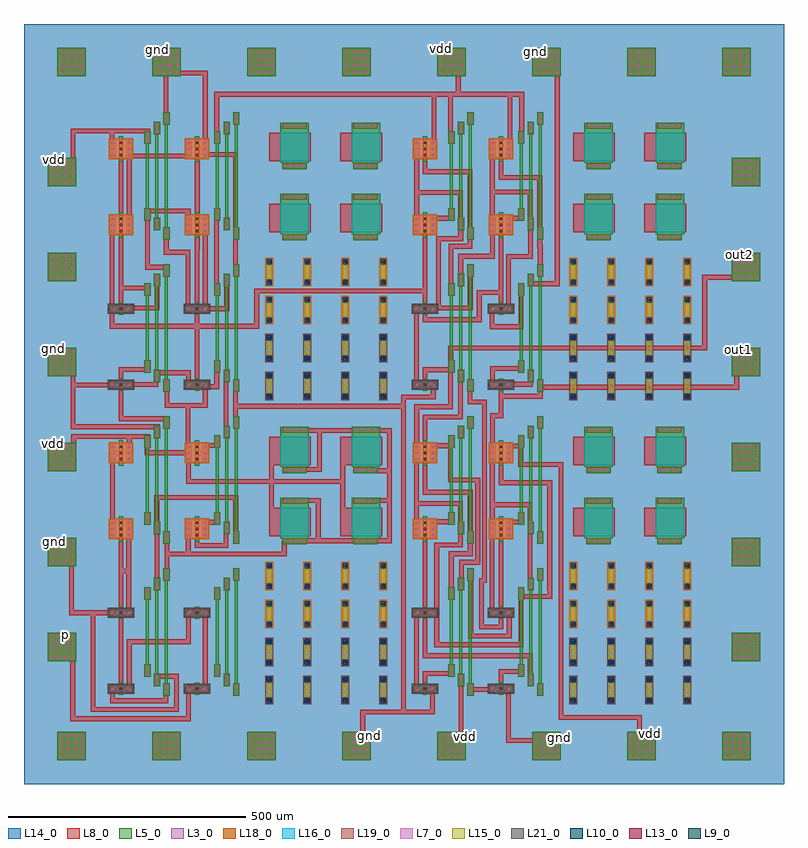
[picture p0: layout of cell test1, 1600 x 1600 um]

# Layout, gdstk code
from math import pi, radians
import gdstk
lib = gdstk.Library(unit=1e-6, precision=1e-09)
def R(c, l, rs):  # rectangles x0, y0, x1, y1
    for r in rs: c.add(gdstk.rectangle(r[:2], r[2:], *l))
L3_0 = (3, 0)
L5_0 = (5, 0)
L7_0 = (7, 0)
L8_0 = (8, 0)
L9_0 = (9, 0)
L10_0 = (10, 0)
L13_0 = (13, 0)
L14_0 = (14, 0)
L15_0 = (15, 0)
L16_0 = (16, 0)
L18_0 = (18, 0)
L19_0 = (19, 0)
L21_0 = (21, 0)

c_16_5x5_flame_1 = lib.new_cell('16_5x5_flame$1')
R(c_16_5x5_flame_1, L14_0, [(-800,-800,800,800), (-750,-750,750,750)])

dcont = lib.new_cell('dcont')
R(dcont, L3_0, [(-6.5,-6.5,6.5,6.5)])
R(dcont, L7_0, [(-2.5,-2.5,2.5,2.5)])
R(dcont, L8_0, [(-6.5,-6.5,6.5,6.5)])

pcont_min = lib.new_cell('pcont_min')
R(pcont_min, L5_0, [(-4.5,-6.5,4.5,6.5)])
R(pcont_min, L7_0, [(-2.5,-2.5,2.5,2.5)])
R(pcont_min, L8_0, [(-4.5,-6.5,4.5,6.5)])
R(pcont_min, L13_0, [(-2.5,-2.5,2.5,2.5)])

pch_1 = lib.new_cell('Pch$1')
R(pch_1, L3_0, [(0,17,48,57)])
R(pch_1, L18_0, [(-2,15,50,59)])
pch_1.add(gdstk.FlexPath([(6.5,17),(6.5,57)], 13, ends="flush", simple_path=True, layer=8, datatype=0))  # L8_0
pch_1.add(gdstk.FlexPath([(41.5,17),(41.5,57)], 13, ends="flush", simple_path=True, layer=8, datatype=0))  # L8_0
pch_1.add(gdstk.FlexPath([(24,17),(24,57)], 10, ends=(6.5, 6.5), simple_path=True, layer=5, datatype=0))  # L5_0
pch_1.add(gdstk.Reference(dcont, (6.5,24)))
pch_1.add(gdstk.Reference(dcont, (6.5,37)))
pch_1.add(gdstk.Reference(dcont, (6.5,50)))
pch_1.add(gdstk.Reference(dcont, (41.5,24)))
pch_1.add(gdstk.Reference(dcont, (41.5,37)))
pch_1.add(gdstk.Reference(dcont, (41.5,50)))
pch_1.add(gdstk.Reference(pcont_min, (24,24)))
pch_1.add(gdstk.Reference(pcont_min, (24,37)))
pch_1.add(gdstk.Reference(pcont_min, (24,50)))

tin_m1_1 = lib.new_cell('tin_M1$1')
R(tin_m1_1, L5_0, [(-7,-7,6,6)])
R(tin_m1_1, L7_0, [(-3,-3,2,2)])
R(tin_m1_1, L8_0, [(-7,-7,6,6)])

v_tin_line3_1 = lib.new_cell('V_tin_line3$1')
v_tin_line3_1.add(gdstk.FlexPath([(-20.5,74),(-20.5,-74)], 6, ends="extended", simple_path=True, layer=5, datatype=0))  # L5_0
v_tin_line3_1.add(gdstk.FlexPath([(-0.5,94),(-0.5,-94)], 6, ends="extended", simple_path=True, layer=5, datatype=0))  # L5_0
v_tin_line3_1.add(gdstk.FlexPath([(19.5,114),(19.5,-114)], 6, ends="extended", simple_path=True, layer=5, datatype=0))  # L5_0
r = gdstk.Reference(tin_m1_1, (-20.5,74), rotation=pi); r.repetition = gdstk.Repetition(2, 3, v1=(0,13), v2=(20,20)); v_tin_line3_1.add(r)
r = gdstk.Reference(tin_m1_1, (-20.5,-88), rotation=pi); r.repetition = gdstk.Repetition(2, 3, v1=(0,13), v2=(20,-20)); v_tin_line3_1.add(r)

pmos_array_1 = lib.new_cell('pmos_array$1')
R(pmos_array_1, L14_0, [(-160,-160,160,160)])
r = gdstk.Reference(pch_1, (-140,-140)); r.repetition = gdstk.Repetition(2, 2, v1=(160,0), v2=(0,160)); pmos_array_1.add(r)
pmos_array_1.add(gdstk.Reference(v_tin_line3_1, (-40,0)))
pmos_array_1.add(gdstk.Reference(v_tin_line3_1, (107,0)))

nch_1 = lib.new_cell('Nch$1')
R(nch_1, L3_0, [(0,18.5,48,28.5)])
R(nch_1, L19_0, [(-2,15,50,32)])
R(nch_1, L21_0, [(-4,13,52,34)])
nch_1.add(gdstk.FlexPath([(6.5,17),(6.5,30)], 13, ends="flush", simple_path=True, layer=8, datatype=0))  # L8_0
nch_1.add(gdstk.FlexPath([(41.5,17),(41.5,30)], 13, ends="flush", simple_path=True, layer=8, datatype=0))  # L8_0
nch_1.add(gdstk.FlexPath([(24,17),(24,30)], 10, ends=(6.5, 6.5), simple_path=True, layer=5, datatype=0))  # L5_0
nch_1.add(gdstk.Reference(dcont, (6.5,23.5)))
nch_1.add(gdstk.Reference(dcont, (41.5,23.5)))
nch_1.add(gdstk.Reference(pcont_min, (24,23.5)))

nmos_array_1 = lib.new_cell('nmos_array$1')
R(nmos_array_1, L14_0, [(-160,-160,160,160)])
r = gdstk.Reference(nch_1, (-140,-143)); r.repetition = gdstk.Repetition(2, 2, v1=(160,0), v2=(0,160)); nmos_array_1.add(r)
nmos_array_1.add(gdstk.Reference(v_tin_line3_1, (-40,0)))
nmos_array_1.add(gdstk.Reference(v_tin_line3_1, (107,0)))

via = lib.new_cell('Via')
R(via, L8_0, [(-6.5,-6.5,6.5,6.5)])
R(via, L9_0, [(-2.5,-2.5,2.5,2.5)])
R(via, L10_0, [(-5,-5,5,5)])
R(via, L13_0, [(-2.5,-2.5,2.5,2.5)])

r_ndiff = lib.new_cell('R_ndiff')
R(r_ndiff, L19_0, [(-2,-2,15,58)])
r_ndiff.add(gdstk.FlexPath([(6.5,0),(6.5,56)], 10, ends="flush", simple_path=True, layer=3, datatype=0))  # L3_0
r_ndiff.add(gdstk.FlexPath([(6.5,13),(6.5,43)], 10, ends="flush", simple_path=True, layer=15, datatype=0))  # L15_0
r_ndiff.add(gdstk.Reference(dcont, (6.5,6.5), rotation=pi/2))
r_ndiff.add(gdstk.Reference(via, (6.5,6.5)))
r_ndiff.add(gdstk.Reference(dcont, (6.5,49.5), rotation=pi/2))
r_ndiff.add(gdstk.Reference(via, (6.5,49.5)))

r_pdiff_1 = lib.new_cell('R_pdiff$1')
R(r_pdiff_1, L18_0, [(-2,-2,15,58)])
r_pdiff_1.add(gdstk.FlexPath([(6.5,0),(6.5,56)], 10, ends="flush", simple_path=True, layer=3, datatype=0))  # L3_0
r_pdiff_1.add(gdstk.FlexPath([(6.5,13),(6.5,43)], 10, ends="flush", simple_path=True, layer=15, datatype=0))  # L15_0
r_pdiff_1.add(gdstk.Reference(dcont, (6.5,6.5), rotation=pi/2))
r_pdiff_1.add(gdstk.Reference(via, (6.5,6.5)))
r_pdiff_1.add(gdstk.Reference(dcont, (6.5,49.5), rotation=pi/2))
r_pdiff_1.add(gdstk.Reference(via, (6.5,49.5)))

resistor_array_1 = lib.new_cell('resistor_array$1')
R(resistor_array_1, L14_0, [(-160,-160,160,160)])
r = gdstk.Reference(r_ndiff, (-130,-150)); r.repetition = gdstk.Repetition(4, 2, v1=(80,0), v2=(0,80)); resistor_array_1.add(r)
r = gdstk.Reference(r_pdiff_1, (-130,10)); r.repetition = gdstk.Repetition(4, 2, v1=(80,0), v2=(0,80)); resistor_array_1.add(r)

tin_cap = lib.new_cell('TIN_cap')
R(tin_cap, L5_0, [(23.5,-4,83.5,81)])
R(tin_cap, L8_0, [(0,0,87.5,60)])
R(tin_cap, L16_0, [(23.5,0,83.5,60)])

cap_con_1 = lib.new_cell('cap_con$1')
cap_con_1.add(gdstk.Reference(tin_cap, (-43.75,-38.5)))
r = gdstk.Reference(tin_m1_1, (28.25,35.5), rotation=pi); r.repetition = gdstk.Repetition(4, 1, v1=(-13,0), v2=(0,0)); cap_con_1.add(r)
r = gdstk.Reference(tin_m1_1, (28.25,-49.5), rotation=pi); r.repetition = gdstk.Repetition(4, 1, v1=(-13,0), v2=(0,0)); cap_con_1.add(r)

tin_m1_cap_array_1 = lib.new_cell('tin_m1_cap_array$1')
R(tin_m1_cap_array_1, L14_0, [(-160,-160,160,160)])
r = gdstk.Reference(cap_con_1, (-80,-80)); r.repetition = gdstk.Repetition(2, 2, v1=(150,0), v2=(0,150)); tin_m1_cap_array_1.add(r)

base_array_1 = lib.new_cell('base_array$1')
base_array_1.add(gdstk.Reference(pmos_array_1, (-160,160)))
base_array_1.add(gdstk.Reference(nmos_array_1, (-160,-160)))
base_array_1.add(gdstk.Reference(resistor_array_1, (160,-160)))
base_array_1.add(gdstk.Reference(tin_m1_cap_array_1, (160,160)))

pad_60_m1_tin_1 = lib.new_cell('pad_60_m1_tin$1')
R(pad_60_m1_tin_1, L5_0, [(-30,-30,30,30), (-30,-30,30,30)])
R(pad_60_m1_tin_1, L8_0, [(-30,-30,30,30)])
r = gdstk.Reference(tin_m1_1, (22,-23), rotation=pi/2); r.repetition = gdstk.Repetition(4, 4, v1=(0,15), v2=(-15,0)); pad_60_m1_tin_1.add(r)

base_rev0_93 = lib.new_cell('base_Rev0.93')
base_rev0_93.add(gdstk.Reference(c_16_5x5_flame_1, (0,0)))
r = gdstk.Reference(base_array_1, (-320,-320)); r.repetition = gdstk.Repetition(2, 2, v1=(640,0), v2=(0,640)); base_rev0_93.add(r)
r = gdstk.Reference(pad_60_m1_tin_1, (700,720), rotation=pi/2); r.repetition = gdstk.Repetition(1, 8, v1=(0,0), v2=(-200,0)); base_rev0_93.add(r)
r = gdstk.Reference(pad_60_m1_tin_1, (700,-720), rotation=pi/2); r.repetition = gdstk.Repetition(1, 8, v1=(0,0), v2=(-200,0)); base_rev0_93.add(r)
r = gdstk.Reference(pad_60_m1_tin_1, (-720,488), rotation=pi); r.repetition = gdstk.Repetition(1, 6, v1=(0,0), v2=(0,-200)); base_rev0_93.add(r)
r = gdstk.Reference(pad_60_m1_tin_1, (720,488), rotation=pi); r.repetition = gdstk.Repetition(1, 6, v1=(0,0), v2=(0,-200)); base_rev0_93.add(r)
base_rev0_93.add(gdstk.Label('pin01', (-699,-719.5), layer=8, texttype=0))
base_rev0_93.add(gdstk.Label('pin02', (-499,-720), layer=8, texttype=0))
base_rev0_93.add(gdstk.Label('pin03', (-299,-720), layer=8, texttype=0))
base_rev0_93.add(gdstk.Label('pin04', (-99,-720), layer=8, texttype=0))
base_rev0_93.add(gdstk.Label('pin05', (101,-720), layer=8, texttype=0))
base_rev0_93.add(gdstk.Label('pin06', (301,-719.5), layer=8, texttype=0))
base_rev0_93.add(gdstk.Label('pin07', (501,-720), layer=8, texttype=0))
base_rev0_93.add(gdstk.Label('pin08', (701,-719.5), layer=8, texttype=0))
base_rev0_93.add(gdstk.Label('pin09', (720.5,-511), layer=8, texttype=0))
base_rev0_93.add(gdstk.Label('pin10', (720,-311), layer=8, texttype=0))
base_rev0_93.add(gdstk.Label('pin11', (720,-111), layer=8, texttype=0))
base_rev0_93.add(gdstk.Label('pin12', (720,89), layer=8, texttype=0))
base_rev0_93.add(gdstk.Label('pin13', (720,289), layer=8, texttype=0))
base_rev0_93.add(gdstk.Label('pin14', (720,489), layer=8, texttype=0))
base_rev0_93.add(gdstk.Label('pin15', (701,720), layer=8, texttype=0))
base_rev0_93.add(gdstk.Label('pin16', (501,720), layer=8, texttype=0))
base_rev0_93.add(gdstk.Label('pin17', (301,720), layer=8, texttype=0))
base_rev0_93.add(gdstk.Label('pin18', (101,720), layer=8, texttype=0))
base_rev0_93.add(gdstk.Label('pin19', (-99,720), layer=8, texttype=0))
base_rev0_93.add(gdstk.Label('pin20', (-299,720), layer=8, texttype=0))
base_rev0_93.add(gdstk.Label('pin21', (-499,720), layer=8, texttype=0))
base_rev0_93.add(gdstk.Label('pin22', (-699,720), layer=8, texttype=0))
base_rev0_93.add(gdstk.Label('pin23', (-720,489), layer=8, texttype=0))
base_rev0_93.add(gdstk.Label('pin24', (-720,289), layer=8, texttype=0))
base_rev0_93.add(gdstk.Label('pin25', (-720,89), layer=8, texttype=0))
base_rev0_93.add(gdstk.Label('pin26', (-720,-111), layer=8, texttype=0))
base_rev0_93.add(gdstk.Label('pin27', (-720,-311), layer=8, texttype=0))
base_rev0_93.add(gdstk.Label('pin28', (-720,-511), layer=8, texttype=0))

test1 = lib.new_cell('test1')
test1.add(gdstk.FlexPath([(346,-171.5),(346,-221),(287.5,-221)], 10, ends="flush", simple_path=True, layer=8, datatype=0))  # L8_0
test1.add(gdstk.FlexPath([(411,-221),(411,-103.5),(365.5,-103.5),(365.5,-68.5)], 10, ends="flush", simple_path=True, layer=8, datatype=0))  # L8_0
test1.add(gdstk.FlexPath([(928,-511),(968.5,-511)], 10, ends="flush", simple_path=True, layer=8, datatype=0))  # L8_0
test1.add(gdstk.FlexPath([(927.5,-671),(966,-671)], 10, ends="flush", simple_path=True, layer=8, datatype=0))  # L8_0
test1.add(gdstk.FlexPath([(270,-374.5),(270,-454),(369.5,-454)], 10, ends="flush", simple_path=True, layer=8, datatype=0))  # L8_0
test1.add(gdstk.FlexPath([(447.5,-379),(447.5,-426),(402,-426)], 10, ends="flush", simple_path=True, layer=8, datatype=0))  # L8_0
test1.add(gdstk.FlexPath([(1005,-391.5),(1005,-419),(1035.5,-419),(1035.5,-794.5),(1029,-794.5),(1029,-892.5),(1070,-892.5),(1070,-863.5)], 10, ends="flush", simple_path=True, layer=8, datatype=0))  # L8_0
test1.add(gdstk.FlexPath([(927.5,-382.5),(927.5,-408),(860,-408)], 10, ends="flush", simple_path=True, layer=8, datatype=0))  # L8_0
test1.add(gdstk.FlexPath([(1070,-384.5),(1070,-447.5),(1052.5,-447.5),(1052.5,-513.5),(1057.5,-513.5)], 10, ends="flush", simple_path=True, layer=8, datatype=0))  # L8_0
test1.add(gdstk.FlexPath([(352,-471),(169,-471),(169,-381)], 10, ends="flush", simple_path=True, layer=8, datatype=0))  # L8_0
test1.add(gdstk.FlexPath([(367,-389),(367,-426),(411,-426),(411,-513.5)], 10, ends="flush", simple_path=True, layer=8, datatype=0))  # L8_0
test1.add(gdstk.FlexPath([(511,-458.5),(511,-388)], 10, ends="flush", simple_path=True, layer=8, datatype=0))  # L8_0
test1.add(gdstk.FlexPath([(865.5,-427.5),(511.5,-427.5),(511.5,-434.5)], 10, ends="flush", simple_path=True, layer=8, datatype=0))  # L8_0
test1.add(gdstk.FlexPath([(472,138.5),(472,229),(953.5,229)], 10, ends="flush", simple_path=True, layer=8, datatype=0))  # L8_0
test1.add(gdstk.FlexPath([(893,-511),(893,-429),(964,-429),(964,-353.5)], 10, ends="flush", simple_path=True, layer=8, datatype=0))  # L8_0
test1.add(gdstk.FlexPath([(985,-374),(985,-450.5),(910,-450.5),(910,-517)], 10, ends="flush", simple_path=True, layer=8, datatype=0))  # L8_0
test1.add(gdstk.FlexPath([(926,-1025.5),(926,-1071.5),(779,-1071.5),(779,-1122)], 10, ends="flush", simple_path=True, layer=8, datatype=0))  # L8_0
test1.add(gdstk.FlexPath([(865,-407.5),(865,-1076.5)], 10, ends="flush", simple_path=True, layer=8, datatype=0))  # L8_0
test1.add(gdstk.FlexPath([(491.5,-370),(491.5,-451.5),(491.5,-488.5)], 10, ends="flush", simple_path=True, layer=8, datatype=0))  # L8_0
test1.add(gdstk.FlexPath([(427,-259.5),(556,-259.5),(556,-185),(912,-185)], 10, ends="flush", simple_path=True, layer=8, datatype=0))  # L8_0
test1.add(gdstk.FlexPath([(1086,-381.5),(1132.5,-381.5),(1132.5,-368)], 10, ends="flush", simple_path=True, layer=8, datatype=0))  # L8_0
test1.add(gdstk.FlexPath([(1109.5,-348.5),(1052.5,-348.5),(1052.5,-382.5)], 10, ends="flush", simple_path=True, layer=8, datatype=0))  # L8_0
test1.add(gdstk.FlexPath([(1070,-221.5),(1070,-188.5),(1067,-188.5),(1070,-188.5),(1070,-61.5)], 10, ends="flush", simple_path=True, layer=8, datatype=0))  # L8_0
test1.add(gdstk.FlexPath([(910,-224.5),(910,-245.5),(1024.5,-245.5),(1024.5,-188.5),(1069.5,-188.5)], 10, ends="flush", simple_path=True, layer=8, datatype=0))  # L8_0
test1.add(gdstk.FlexPath([(910,-63.5),(910,-189),(910,-220)], 10, ends="flush", simple_path=True, layer=8, datatype=0))  # L8_0
test1.add(gdstk.FlexPath([(892.5,-222),(892.5,-382.5)], 10, ends="flush", simple_path=True, layer=8, datatype=0))  # L8_0
test1.add(gdstk.FlexPath([(1070,-385.5),(1070,-406.5),(1156.5,-406.5)], 10, ends="flush", simple_path=True, layer=8, datatype=0))  # L8_0
test1.add(gdstk.FlexPath([(965.5,-351),(910,-351),(910,-385.5)], 10, ends="flush", simple_path=True, layer=8, datatype=0))  # L8_0
test1.add(gdstk.FlexPath([(985.5,-50.5),(985.5,-75),(938.5,-75),(938.5,-223)], 10, ends="flush", simple_path=True, layer=8, datatype=0))  # L8_0
test1.add(gdstk.FlexPath([(1132,-170),(1188.5,-170),(1188.5,231.5),(1188.5,272.5)], 10, ends="flush", simple_path=True, layer=8, datatype=0))  # L8_0
test1.add(gdstk.FlexPath([(1153,-386.5),(1153,-411.5)], 10, ends="flush", simple_path=True, layer=8, datatype=0))  # L8_0
test1.add(gdstk.FlexPath([(1153,-387.5),(1566.5,-387.5),(1566.5,-345),(1566.5,-345)], 10, ends="flush", simple_path=True, layer=8, datatype=0))  # L8_0
test1.add(gdstk.FlexPath([(1086,-219.5),(1086,-112.5),(1132.5,-112.5),(1132.5,-51)], 10, ends="flush", simple_path=True, layer=8, datatype=0))  # L8_0
test1.add(gdstk.FlexPath([(893,96),(893,-34)], 10, ends="flush", simple_path=True, layer=8, datatype=0))  # L8_0
test1.add(gdstk.FlexPath([(985,-36),(985,22.5),(891.5,22.5)], 10, ends="flush", simple_path=True, layer=8, datatype=0))  # L8_0
test1.add(gdstk.FlexPath([(965,-172.5),(965,-91),(1005,-91),(1005,66),(910,66),(910,96)], 10, ends="flush", simple_path=True, layer=8, datatype=0))  # L8_0
test1.add(gdstk.FlexPath([(1052,96),(1052,-32.5)], 10, ends="flush", simple_path=True, layer=8, datatype=0))  # L8_0
test1.add(gdstk.FlexPath([(1132,-38.5),(1132,23.5),(1052.5,23.5)], 10, ends="flush", simple_path=True, layer=8, datatype=0))  # L8_0
test1.add(gdstk.FlexPath([(1051,-224.5),(1051,-260.5),(1112.5,-260.5),(1112.5,-188.5)], 10, ends="flush", simple_path=True, layer=8, datatype=0))  # L8_0
test1.add(gdstk.FlexPath([(924.5,-221),(1005.5,-221),(1005.5,-143.5)], 10, ends="flush", simple_path=True, layer=8, datatype=0))  # L8_0
test1.add(gdstk.FlexPath([(929,130.5),(929,229),(1114,229),(1114,141.5)], 10, ends="flush", simple_path=True, layer=8, datatype=0))  # L8_0
test1.add(gdstk.FlexPath([(1089,128.57),(1089,190.49)], 10, ends="flush", simple_path=True, layer=8, datatype=0))  # L8_0
test1.add(gdstk.FlexPath([(1089,188.5),(1089,228)], 10, ends="flush", simple_path=True, layer=8, datatype=0))  # L8_0
test1.add(gdstk.FlexPath([(1070,96.5),(1070,54),(1152,54),(1152,-91),(1153,-91),(1153,-154.5)], 10, ends="flush", simple_path=True, layer=8, datatype=0))  # L8_0
test1.add(gdstk.FlexPath([(1052.5,-60),(1052.5,-112),(985.5,-112),(985.5,-165.5)], 10, ends="flush", simple_path=True, layer=8, datatype=0))  # L8_0
test1.add(gdstk.FlexPath([(980,282),(980,227.5)], 10, ends="flush", simple_path=True, layer=8, datatype=0))  # L8_0
test1.add(gdstk.FlexPath([(964,150),(964,228)], 10, ends="flush", simple_path=True, layer=8, datatype=0))  # L8_0
test1.add(gdstk.FlexPath([(928,-32),(964,-32),(964,-32)], 10, ends="flush", simple_path=True, layer=8, datatype=0))  # L8_0
test1.add(gdstk.FlexPath([(928,-32),(964,-32),(964,-32)], 10, ends="flush", simple_path=True, layer=8, datatype=0))  # L8_0
test1.add(gdstk.FlexPath([(964.5,-338),(964.5,-305),(1499,-305),(1499,-156),(1565,-156)], 10, ends="flush", simple_path=True, layer=8, datatype=0))  # L8_0
test1.add(gdstk.FlexPath([(1089.5,-32),(1111.5,-32)], 10, ends="flush", simple_path=True, layer=8, datatype=0))  # L8_0
test1.add(gdstk.FlexPath([(928,-32),(964,-32),(964,-32)], 10, ends="flush", simple_path=True, layer=8, datatype=0))  # L8_0
test1.add(gdstk.FlexPath([(345.5,-357),(412.5,-357),(412.5,-381)], 10, ends="flush", simple_path=True, layer=8, datatype=0))  # L8_0
test1.add(gdstk.FlexPath([(430,-379),(430,-95),(430.5,-95),(430.5,119.5),(435.5,119.5)], 10, ends="flush", simple_path=True, layer=8, datatype=0))  # L8_0
test1.add(gdstk.FlexPath([(270,-218.5),(270,-179),(326.5,-179)], 10, ends="flush", simple_path=True, layer=8, datatype=0))  # L8_0
test1.add(gdstk.FlexPath([(270,-380),(270,-350.5),(329,-350.5)], 10, ends="flush", simple_path=True, layer=8, datatype=0))  # L8_0
test1.add(gdstk.FlexPath([(443,-386.5),(472,-386.5),(472,-343.5),(472,-343.5)], 10, ends="flush", simple_path=True, layer=8, datatype=0))  # L8_0
test1.add(gdstk.FlexPath([(471.5,-180.5),(471.5,-28.5)], 10, ends="flush", simple_path=True, layer=8, datatype=0))  # L8_0
test1.add(gdstk.FlexPath([(326,-31),(326,-135),(364.5,-135)], 10, ends="flush", simple_path=True, layer=8, datatype=0))  # L8_0
test1.add(gdstk.FlexPath([(511.5,-141),(511.5,102.5),(451.5,102.5),(451.5,102.5)], 10, ends="flush", simple_path=True, layer=8, datatype=0))  # L8_0
test1.add(gdstk.FlexPath([(284.5,-382),(344,-382),(344,-366.5),(344,-366.5)], 10, ends="flush", simple_path=True, layer=8, datatype=0))  # L8_0
test1.add(gdstk.FlexPath([(251,-219),(251,-57.25),(249.5,-58)], 10, ends="flush", simple_path=True, layer=8, datatype=0))  # L8_0
test1.add(gdstk.FlexPath([(251,-225),(251,-259.5),(430,-259.5)], 10, ends="flush", simple_path=True, layer=8, datatype=0))  # L8_0
test1.add(gdstk.FlexPath([(270,-62.5),(270,-176)], 10, ends="flush", simple_path=True, layer=8, datatype=0))  # L8_0
test1.add(gdstk.FlexPath([(287.5,-40),(287.5,111)], 10, ends="flush", simple_path=True, layer=8, datatype=0))  # L8_0
test1.add(gdstk.FlexPath([(270,97),(270,-34.5),(270,-34.5)], 10, ends="flush", simple_path=True, layer=8, datatype=0))  # L8_0
test1.add(gdstk.FlexPath([(411.5,99),(288.5,99),(288.5,98.5)], 10, ends="flush", simple_path=True, layer=8, datatype=0))  # L8_0
test1.add(gdstk.FlexPath([(447.5,-63),(447.5,-229)], 10, ends="flush", simple_path=True, layer=8, datatype=0))  # L8_0
test1.add(gdstk.FlexPath([(446,-222.5),(493,-222.5),(493,-167)], 10, ends="flush", simple_path=True, layer=8, datatype=0))  # L8_0
test1.add(gdstk.FlexPath([(447.5,125),(447.5,274),(386,274)], 10, ends="flush", simple_path=True, layer=8, datatype=0))  # L8_0
test1.add(gdstk.FlexPath([(365,165),(365,287.5)], 10, ends="flush", simple_path=True, layer=8, datatype=0))  # L8_0
test1.add(gdstk.FlexPath([(412,-42.5),(412,-16.5),(321,-16.5),(321,-16.5)], 10, ends="flush", simple_path=True, layer=8, datatype=0))  # L8_0
test1.add(gdstk.FlexPath([(327,141),(327,151.5),(169,151.5),(169,82.5)], 10, ends="flush", simple_path=True, layer=8, datatype=0))  # L8_0
test1.add(gdstk.FlexPath([(251,123.5),(251,151.5)], 10, ends="flush", simple_path=True, layer=8, datatype=0))  # L8_0
test1.add(gdstk.FlexPath([(246.5,-383),(169,-383),(169,-358.5)], 10, ends="flush", simple_path=True, layer=8, datatype=0))  # L8_0
test1.add(gdstk.FlexPath([(252.5,-1025.5),(252.5,-1047.5),(365,-1047.5),(365,-1028.5)], 10, ends="flush", simple_path=True, layer=8, datatype=0))  # L8_0
test1.add(gdstk.FlexPath([(447.5,-861),(447.5,-1020)], 10, ends="flush", simple_path=True, layer=8, datatype=0))  # L8_0
test1.add(gdstk.FlexPath([(412.5,-1025.5),(412.5,-1085.5),(168.5,-1085.5),(168.5,-952)], 10, ends="flush", simple_path=True, layer=8, datatype=0))  # L8_0
test1.add(gdstk.FlexPath([(248.5,-862.5),(166,-862.5),(166,-758)], 10, ends="flush", simple_path=True, layer=8, datatype=0))  # L8_0
test1.add(gdstk.FlexPath([(211.5,-863.5),(211.5,-1066),(387,-1066),(387,-996),(340,-996)], 10, ends="flush", simple_path=True, layer=8, datatype=0))  # L8_0
test1.add(gdstk.FlexPath([(270,-1018),(270,-741.5),(270,-698.5)], 10, ends="flush", simple_path=True, layer=8, datatype=0))  # L8_0
test1.add(gdstk.FlexPath([(287.5,-1021),(287.5,-923.5),(412.5,-923.5),(412.5,-863.5)], 10, ends="flush", simple_path=True, layer=8, datatype=0))  # L8_0
test1.add(gdstk.FlexPath([(332,-491.5),(170.5,-491.5),(170.5,-519.5)], 10, ends="flush", simple_path=True, layer=8, datatype=0))  # L8_0
test1.add(gdstk.FlexPath([(345.5,-683.5),(345.5,-620),(512,-620),(512,-704)], 10, ends="flush", simple_path=True, layer=8, datatype=0))  # L8_0
test1.add(gdstk.FlexPath([(346,-795),(346,-690)], 10, ends="flush", simple_path=True, layer=8, datatype=0))  # L8_0
test1.add(gdstk.FlexPath([(367,-713),(367,-737.5),(367.5,-738)], 10, ends="flush", simple_path=True, layer=8, datatype=0))  # L8_0
test1.add(gdstk.FlexPath([(656,-561),(688,-561),(688,-479)], 10, ends="flush", simple_path=True, layer=8, datatype=0))  # L8_0
test1.add(gdstk.FlexPath([(648.5,-626),(685.5,-626),(685.5,-709.5)], 10, ends="flush", simple_path=True, layer=8, datatype=0))  # L8_0
test1.add(gdstk.FlexPath([(777.5,-626),(837.5,-626)], 10, ends="flush", simple_path=True, layer=8, datatype=0))  # L8_0
test1.add(gdstk.FlexPath([(799.5,-563.5),(833,-563.5)], 10, ends="flush", simple_path=True, layer=8, datatype=0))  # L8_0
test1.add(gdstk.FlexPath([(616.5,-479),(835.5,-479),(835.5,-711),(612,-711)], 10, ends="flush", simple_path=True, layer=8, datatype=0))  # L8_0
test1.add(gdstk.FlexPath([(614,-712),(614,-744)], 10, ends="flush", simple_path=True, layer=8, datatype=0))  # L8_0
test1.add(gdstk.FlexPath([(737,-540),(737,-652.5)], 10, ends="flush", simple_path=True, layer=8, datatype=0))  # L8_0
test1.add(gdstk.FlexPath([(587,-544.5),(587,-647.5)], 10, ends="flush", simple_path=True, layer=8, datatype=0))  # L8_0
test1.add(gdstk.FlexPath([(286.5,-860.5),(286.5,-694)], 10, ends="flush", simple_path=True, layer=8, datatype=0))  # L8_0
test1.add(gdstk.FlexPath([(266.5,-774.5),(285,-774.5),(285,-774.5)], 10, ends="flush", simple_path=True, layer=8, datatype=0))  # L8_0
test1.add(gdstk.FlexPath([(252.5,-673.5),(252.5,-543)], 10, ends="flush", simple_path=True, layer=8, datatype=0))  # L8_0
test1.add(gdstk.FlexPath([(252.5,-527),(269.5,-527)], 10, ends="flush", simple_path=True, layer=8, datatype=0))  # L8_0
test1.add(gdstk.FlexPath([(325,-511.5),(325,-525.5),(412.5,-525.5)], 10, ends="flush", simple_path=True, layer=8, datatype=0))  # L8_0
test1.add(gdstk.FlexPath([(287.5,-511),(287.5,-487),(287.5,-487)], 10, ends="flush", simple_path=True, layer=8, datatype=0))  # L8_0
test1.add(gdstk.FlexPath([(447.5,-510.5),(471,-510.5)], 10, ends="flush", simple_path=True, layer=8, datatype=0))  # L8_0
test1.add(gdstk.FlexPath([(412,-700),(412,-736.5)], 10, ends="flush", simple_path=True, layer=8, datatype=0))  # L8_0
test1.add(gdstk.FlexPath([(430,-526.5),(447.5,-526.5)], 10, ends="flush", simple_path=True, layer=8, datatype=0))  # L8_0
test1.add(gdstk.FlexPath([(427,-1022.5),(447,-1022.5)], 10, ends="flush", simple_path=True, layer=8, datatype=0))  # L8_0
test1.add(gdstk.FlexPath([(427.5,-861.5),(404.5,-861.5)], 10, ends="flush", simple_path=True, layer=8, datatype=0))  # L8_0
test1.add(gdstk.FlexPath([(367,-780),(367,-739),(615.5,-739),(615.5,-739)], 10, ends="flush", simple_path=True, layer=8, datatype=0))  # L8_0
test1.add(gdstk.FlexPath([(430,-702.5),(430,-721),(491.5,-721),(491.5,-687.5),(491.5,-687.5)], 10, ends="flush", simple_path=True, layer=8, datatype=0))  # L8_0
test1.add(gdstk.FlexPath([(448,-672),(470.5,-672)], 10, ends="flush", simple_path=True, layer=8, datatype=0))  # L8_0
test1.add(gdstk.FlexPath([(412.5,-542.5),(412.5,-586),(733.5,-586),(741.5,-586)], 10, ends="flush", simple_path=True, layer=8, datatype=0))  # L8_0
test1.add(gdstk.FlexPath([(910,-704.5),(910,-830),(910,-860.5),(907,-860.5)], 10, ends="flush", simple_path=True, layer=8, datatype=0))  # L8_0
test1.add(gdstk.FlexPath([(910,-1021.5),(910,-990.5),(966,-990.5)], 10, ends="flush", simple_path=True, layer=8, datatype=0))  # L8_0
test1.add(gdstk.FlexPath([(1006.5,-788),(1006.5,-911.5),(1087.5,-911.5),(1087.5,-863)], 10, ends="flush", simple_path=True, layer=8, datatype=0))  # L8_0
test1.add(gdstk.FlexPath([(1070,-858.5),(1070,-828),(1070,-704.5)], 10, ends="flush", simple_path=True, layer=8, datatype=0))  # L8_0
test1.add(gdstk.FlexPath([(1070,-1024.5),(1070,-986),(1111.5,-986),(1111.5,-993.5)], 10, ends="flush", simple_path=True, layer=8, datatype=0))  # L8_0
test1.add(gdstk.FlexPath([(1051,-1024),(1008.5,-1024)], 10, ends="flush", simple_path=True, layer=8, datatype=0))  # L8_0
test1.add(gdstk.FlexPath([(892.5,-865.5),(892.5,-1020.5)], 10, ends="flush", simple_path=True, layer=8, datatype=0))  # L8_0
test1.add(gdstk.FlexPath([(910,-853),(910,-953),(1132,-953),(1132,-993.5)], 10, ends="flush", simple_path=True, layer=8, datatype=0))  # L8_0
test1.add(gdstk.FlexPath([(964,-507.5),(964,-583),(1021.5,-583),(1021.5,-756),(987,-756),(987,-805.5)], 10, ends="flush", simple_path=True, layer=8, datatype=0))  # L8_0
test1.add(gdstk.FlexPath([(1070,-544.5),(1070,-589),(1173,-589),(1173,-712),(1173,-817.5)], 10, ends="flush", simple_path=True, layer=8, datatype=0))  # L8_0
test1.add(gdstk.FlexPath([(1113,-671.5),(1083.5,-671.5)], 10, ends="flush", simple_path=True, layer=8, datatype=0))  # L8_0
test1.add(gdstk.FlexPath([(892,-632.5),(985,-632.5),(985,-720),(935,-720),(935,-858.5)], 10, ends="flush", simple_path=True, layer=8, datatype=0))  # L8_0
test1.add(gdstk.FlexPath([(910,-542),(910,-609),(1005.5,-609),(1005.5,-738),(965.5,-738),(965.5,-809.5)], 10, ends="flush", simple_path=True, layer=8, datatype=0))  # L8_0
test1.add(gdstk.FlexPath([(1051,-697.5),(1051,-862.5)], 10, ends="flush", simple_path=True, layer=8, datatype=0))  # L8_0
test1.add(gdstk.FlexPath([(1052,-635),(1131.5,-635),(1131.5,-740.5),(1131.5,-809)], 10, ends="flush", simple_path=True, layer=8, datatype=0))  # L8_0
test1.add(gdstk.FlexPath([(1111,-828.5),(1173.5,-828.5),(1173.5,-806),(1173.5,-806)], 10, ends="flush", simple_path=True, layer=8, datatype=0))  # L8_0
test1.add(gdstk.FlexPath([(935,-856.5),(935,-930),(1112.5,-930),(1112.5,-827.5)], 10, ends="flush", simple_path=True, layer=8, datatype=0))  # L8_0
test1.add(gdstk.FlexPath([(1112.5,-511.5),(1083.5,-511.5)], 10, ends="flush", simple_path=True, layer=8, datatype=0))  # L8_0
test1.add(gdstk.FlexPath([(892.5,-541.5),(892.5,-688),(899.5,-688)], 10, ends="flush", simple_path=True, layer=8, datatype=0))  # L8_0
test1.add(gdstk.FlexPath([(986,-1009.5),(986,-1125)], 10, ends="flush", simple_path=True, layer=8, datatype=0))  # L8_0
test1.add(gdstk.FlexPath([(1086,-1023),(1086,-1131.5),(1150,-1131.5),(1150,-1131.5)], 10, ends="flush", simple_path=True, layer=8, datatype=0))  # L8_0
test1.add(gdstk.FlexPath([(1112,-510),(1112,-550.5),(1196.5,-550.5),(1196.5,-1083),(1362,-1083),(1362,-1136.5)], 10, ends="flush", simple_path=True, layer=8, datatype=0))  # L8_0
test1.add(gdstk.FlexPath([(1052,-529.5),(1052,-686.5)], 10, ends="flush", simple_path=True, layer=8, datatype=0))  # L8_0
test1.add(gdstk.Reference(base_rev0_93, (866,-423)))
test1.add(gdstk.Label('p', (152.5,-907.5), layer=8, texttype=0))
test1.add(gdstk.Label('vdd', (129,-506.5), layer=8, texttype=0))
test1.add(gdstk.Label('gnd', (128,-306.5), layer=8, texttype=0))
test1.add(gdstk.Label('gnd', (131,-713), layer=8, texttype=0))
test1.add(gdstk.Label('vdd', (129.5,92), layer=8, texttype=0))
test1.add(gdstk.Label('gnd', (346,323.5), layer=8, texttype=0))
test1.add(gdstk.Label('gnd', (1143,319), layer=8, texttype=0))
test1.add(gdstk.Label('vdd', (945.5,325), layer=8, texttype=0))
test1.add(gdstk.Label('out2', (1571.5,-108.5), layer=8, texttype=0))
test1.add(gdstk.Label('out1', (1571,-309), layer=8, texttype=0))
test1.add(gdstk.Label('vdd', (1384,-1117.5), layer=8, texttype=0))
test1.add(gdstk.Label('gnd', (794,-1121.5), layer=8, texttype=0))
test1.add(gdstk.Label('vdd', (995,-1123), layer=8, texttype=0))
test1.add(gdstk.Label('gnd', (1194,-1125), layer=8, texttype=0))

lib.write_gds('test1.gds')
